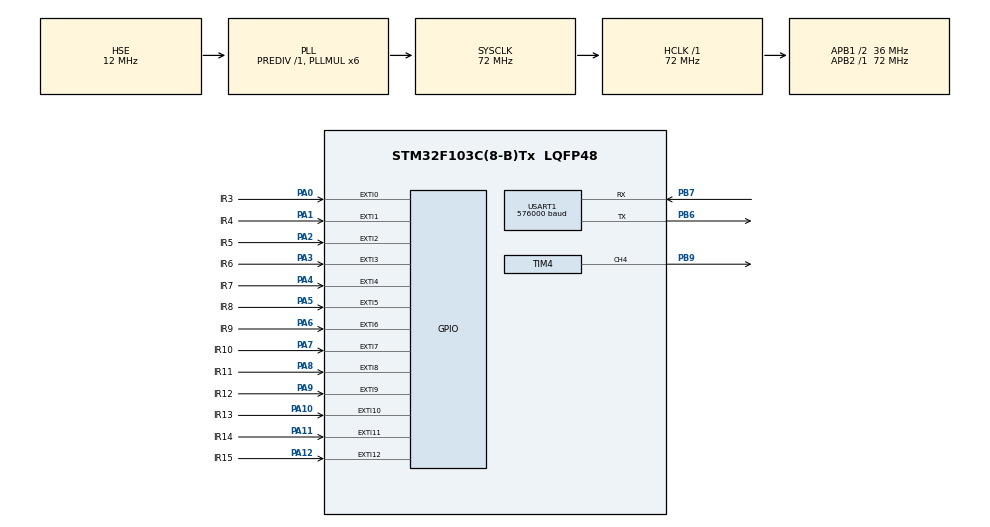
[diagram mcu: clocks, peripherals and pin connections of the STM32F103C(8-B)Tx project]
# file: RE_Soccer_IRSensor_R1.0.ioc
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Mcu.Family=STM32F1
Mcu.Name=STM32F103C(8-B)Tx
Mcu.Package=LQFP48
NVIC.EXTI0_IRQn=true\:0\:0\:false\:false\:true\:true\:true\:true
NVIC.EXTI15_10_IRQn=true\:0\:0\:false\:false\:true\:true\:true\:true
NVIC.EXTI1_IRQn=true\:0\:0\:false\:false\:true\:true\:true\:true
NVIC.EXTI2_IRQn=true\:0\:0\:false\:false\:true\:true\:true\:true
NVIC.EXTI3_IRQn=true\:0\:0\:false\:false\:true\:true\:true\:true
NVIC.EXTI4_IRQn=true\:0\:0\:false\:false\:true\:true\:true\:true
NVIC.EXTI9_5_IRQn=true\:0\:0\:false\:false\:true\:true\:true\:true
NVIC.PriorityGroup=NVIC_PRIORITYGROUP_4
NVIC.TIM3_IRQn=true\:0\:0\:false\:false\:true\:true\:true\:true
NVIC.TIM4_IRQn=true\:0\:0\:false\:false\:true\:true\:true\:true
PA0-WKUP.GPIO_Label=IR3
PA0-WKUP.GPIO_ModeDefaultEXTI=GPIO_MODE_IT_FALLING
PA0-WKUP.Signal=GPXTI0
PA1.GPIO_Label=IR4
PA1.GPIO_ModeDefaultEXTI=GPIO_MODE_IT_FALLING
PA1.Signal=GPXTI1
PA10.GPIO_Label=IR13
PA10.GPIO_ModeDefaultEXTI=GPIO_MODE_IT_FALLING
PA10.Signal=GPXTI10
PA11.GPIO_Label=IR14
PA11.GPIO_ModeDefaultEXTI=GPIO_MODE_IT_FALLING
PA11.Signal=GPXTI11
PA12.GPIO_Label=IR15
PA12.GPIO_ModeDefaultEXTI=GPIO_MODE_IT_FALLING
PA12.Signal=GPXTI12
PA13.Mode=Serial_Wire
PA13.Signal=SYS_JTMS-SWDIO
PA14.Mode=Serial_Wire
PA14.Signal=SYS_JTCK-SWCLK
PA2.GPIO_Label=IR5
PA2.GPIO_ModeDefaultEXTI=GPIO_MODE_IT_FALLING
PA2.Signal=GPXTI2
PA3.GPIO_Label=IR6
PA3.GPIO_ModeDefaultEXTI=GPIO_MODE_IT_FALLING
PA3.Signal=GPXTI3
PA4.GPIO_Label=IR7
PA4.GPIO_ModeDefaultEXTI=GPIO_MODE_IT_FALLING
PA4.Signal=GPXTI4
PA5.GPIO_Label=IR8
PA5.GPIO_ModeDefaultEXTI=GPIO_MODE_IT_FALLING
PA5.Signal=GPXTI5
PA6.GPIO_Label=IR9
PA6.GPIO_ModeDefaultEXTI=GPIO_MODE_IT_FALLING
PA6.Signal=GPXTI6
PA7.GPIO_Label=IR10
PA7.GPIO_ModeDefaultEXTI=GPIO_MODE_IT_FALLING
PA7.Signal=GPXTI7
PA8.GPIO_Label=IR11
PA8.GPIO_ModeDefaultEXTI=GPIO_MODE_IT_FALLING
PA8.Signal=GPXTI8
PA9.GPIO_Label=IR12
PA9.GPIO_ModeDefaultEXTI=GPIO_MODE_IT_FALLING
PA9.Signal=GPXTI9
PB6.Mode=Asynchronous
PB6.Signal=USART1_TX
PB7.Mode=Asynchronous
PB7.Signal=USART1_RX
PB9.Signal=S_TIM4_CH4
PD0-OSC_IN.Mode=HSE-External-Oscillator
PD0-OSC_IN.Signal=RCC_OSC_IN
PD1-OSC_OUT.Mode=HSE-External-Oscillator
PD1-OSC_OUT.Signal=RCC_OSC_OUT
ProjectManager.HeapSize=0x200
ProjectManager.StackSize=0x400
ProjectManager.TargetToolchain=STM32CubeIDE
RCC.AHBFreq_Value=72000000
RCC.APB1CLKDivider=RCC_HCLK_DIV2
RCC.APB1Freq_Value=36000000
RCC.APB1TimFreq_Value=72000000
RCC.APB2Freq_Value=72000000
RCC.APB2TimFreq_Value=72000000
RCC.HCLKFreq_Value=72000000
RCC.HSE_VALUE=12000000
RCC.PLLMUL=RCC_PLL_MUL6
RCC.PLLSourceVirtual=RCC_PLLSOURCE_HSE
RCC.SYSCLKFreq_VALUE=72000000
RCC.SYSCLKSource=RCC_SYSCLKSOURCE_PLLCLK
RCC.USBFreq_Value=72000000
SH.S_TIM4_CH4.0=TIM4_CH4,PWM Generation4 CH4
TIM3.Period=59999
TIM3.Prescaler=11
TIM4.AutoReloadPreload=TIM_AUTORELOAD_PRELOAD_ENABLE
TIM4.Channel-PWM\ Generation4\ CH4=TIM_CHANNEL_4
TIM4.OCPolarity_4=TIM_OCPOLARITY_LOW
TIM4.Period=255
TIM4.Prescaler=8
USART1.BaudRate=576000
USART1.Mode=MODE_TX
USART1.VirtualMode=VM_ASYNC
VP_TIM3_VS_ClockSourceINT.Mode=Internal
VP_TIM4_VS_ClockSourceINT.Mode=Internal
board=custom

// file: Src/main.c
/* USER CODE BEGIN Header */
/**
  ******************************************************************************
  * @file           : main.c
  * @brief          : Main program body
  ******************************************************************************
  * @attention
  *
  * Copyright (c) 2025 STMicroelectronics.
  * All rights reserved.
  *
  * This software is licensed under terms that can be found in the LICENSE file
  * in the root directory of this software component.
  * If no LICENSE file comes with this software, it is provided AS-IS.
  *
  ******************************************************************************
  */
/* USER CODE END Header */
#include "main.h"

/* USER CODE BEGIN Includes */
#include "stdio.h"
#include "stdlib.h"

/* USER CODE END Includes */

TIM_HandleTypeDef htim3;
TIM_HandleTypeDef htim4;

UART_HandleTypeDef huart1;

void SystemClock_Config(void);
static void MX_GPIO_Init(void);
static void MX_TIM4_Init(void);
static void MX_USART1_UART_Init(void);
static void MX_TIM3_Init(void);

/* USER CODE BEGIN 0 */
uint32_t irDataInc[13] = {0};
void HAL_GPIO_EXTI_Callback(uint16_t GPIO_Pin)
{
	if(GPIO_Pin == IR3_Pin) irDataInc[0]++;
	else if(GPIO_Pin == IR4_Pin) irDataInc[1]++;
	else if(GPIO_Pin == IR5_Pin) irDataInc[2]++;
	else if(GPIO_Pin == IR6_Pin) irDataInc[3]++;
	else if(GPIO_Pin == IR7_Pin) irDataInc[4]++;
	else if(GPIO_Pin == IR8_Pin) irDataInc[5]++;
	else if(GPIO_Pin == IR9_Pin) irDataInc[6]++;
	else if(GPIO_Pin == IR10_Pin) irDataInc[7]++;
	else if(GPIO_Pin == IR11_Pin) irDataInc[8]++;
	else if(GPIO_Pin == IR12_Pin) irDataInc[9]++;
	else if(GPIO_Pin == IR13_Pin) irDataInc[10]++;
	else if(GPIO_Pin == IR14_Pin) irDataInc[11]++;
	else if(GPIO_Pin == IR15_Pin) irDataInc[12]++;
}

uint32_t irDataCum[13] = {0};
uint16_t irDataBits = 0;
uint8_t UART1_Tx_Buffer[5] = {0xaa, 0xbb, 0, 0, 0xcc};
void HAL_TIM_PeriodElapsedCallback(TIM_HandleTypeDef* htim)
{
	if(htim->Instance == TIM3){
		uint8_t _maxIrCount = 0;

//		uint16_t irDataBits = 0; Mode 1

		for(uint8_t i = 0; i < 13; i++){
			irDataCum[i] = irDataInc[i];
			irDataInc[i] = 0;
			if(_maxIrCount < irDataCum[i]) _maxIrCount = irDataCum[i];
		}

		if(_maxIrCount > 3){
			for(uint8_t i = 0; i < 13; i++){
				if(irDataCum[i] > 2){
					if(abs(irDataCum[i] - _maxIrCount) < /*threshold detect*/ 2 /*threshold detect*/) irDataBits |= (1 << i);
					else if(abs(irDataCum[i] - _maxIrCount) > /*threshold release*/ 3 /*threshold release*/) irDataBits &= ~(1 << i); //Mode 2
				}
				else{
					irDataBits &= ~(1 << i); //Mode 2
				}
			}
		}
		else irDataBits = 0; //Mode 2

		UART1_Tx_Buffer[2] = (uint8_t)(irDataBits >> 8);
		UART1_Tx_Buffer[3] = (uint8_t)(irDataBits);

//		HAL_UART_Transmit_DMA(&huart1, UART1_Tx_Buffer, sizeof(UART1_Tx_Buffer));
		HAL_UART_Transmit(&huart1, UART1_Tx_Buffer, sizeof(UART1_Tx_Buffer), HAL_MAX_DELAY);
	}
}

uint32_t LED_PWM_Update = 0;
uint8_t LED_PWM_Val = 0;
uint8_t LED_PWM_Dir = 0;
/* USER CODE END 0 */

int main(void)
{

  /* MCU Configuration--------------------------------------------------------*/

  /* Reset of all peripherals, Initializes the Flash interface and the Systick. */
  HAL_Init();

  /* Configure the system clock */
  SystemClock_Config();

  /* Initialize all configured peripherals */
  MX_GPIO_Init();
  MX_TIM4_Init();
  MX_USART1_UART_Init();
  MX_TIM3_Init();
  /* USER CODE BEGIN 2 */

  HAL_TIM_Base_Start_IT(&htim3);

  HAL_TIM_PWM_Start(&htim4, TIM_CHANNEL_4);
  /* USER CODE END 2 */

  /* Infinite loop */
  while (1)
  {

    /* USER CODE BEGIN 3 */
	  if(HAL_GetTick() - LED_PWM_Update > 5){
		  LED_PWM_Update = HAL_GetTick();

		  if(LED_PWM_Dir){
			  LED_PWM_Val++;
			  if(LED_PWM_Val == 255) LED_PWM_Dir = !LED_PWM_Dir;
		  }
		  else{
			  LED_PWM_Val--;
			  if(LED_PWM_Val == 0) LED_PWM_Dir = !LED_PWM_Dir;
		  }

		  TIM4->CCR4 = LED_PWM_Val;

//		  HAL_UART_Transmit(&huart1, UART1_Tx_Buffer, sizeof(UART1_Tx_Buffer), HAL_MAX_DELAY);
	  }

  }
  /* USER CODE END 3 */
}

void SystemClock_Config(void)
{
  RCC_OscInitTypeDef RCC_OscInitStruct = {0};
  RCC_ClkInitTypeDef RCC_ClkInitStruct = {0};

  /** Initializes the RCC Oscillators according to the specified parameters
  * in the RCC_OscInitTypeDef structure.
  */
  RCC_OscInitStruct.OscillatorType = RCC_OSCILLATORTYPE_HSE;
  RCC_OscInitStruct.HSEState = RCC_HSE_ON;
  RCC_OscInitStruct.HSEPredivValue = RCC_HSE_PREDIV_DIV1;
  RCC_OscInitStruct.HSIState = RCC_HSI_ON;
  RCC_OscInitStruct.PLL.PLLState = RCC_PLL_ON;
  RCC_OscInitStruct.PLL.PLLSource = RCC_PLLSOURCE_HSE;
  RCC_OscInitStruct.PLL.PLLMUL = RCC_PLL_MUL6;
  if (HAL_RCC_OscConfig(&RCC_OscInitStruct) != HAL_OK)
  {
    Error_Handler();
  }

  /** Initializes the CPU, AHB and APB buses clocks
  */
  RCC_ClkInitStruct.ClockType = RCC_CLOCKTYPE_HCLK|RCC_CLOCKTYPE_SYSCLK
                              |RCC_CLOCKTYPE_PCLK1|RCC_CLOCKTYPE_PCLK2;
  RCC_ClkInitStruct.SYSCLKSource = RCC_SYSCLKSOURCE_PLLCLK;
  RCC_ClkInitStruct.AHBCLKDivider = RCC_SYSCLK_DIV1;
  RCC_ClkInitStruct.APB1CLKDivider = RCC_HCLK_DIV2;
  RCC_ClkInitStruct.APB2CLKDivider = RCC_HCLK_DIV1;

  if (HAL_RCC_ClockConfig(&RCC_ClkInitStruct, FLASH_LATENCY_2) != HAL_OK)
  {
    Error_Handler();
  }
}

static void MX_TIM3_Init(void)
{

  TIM_ClockConfigTypeDef sClockSourceConfig = {0};
  TIM_MasterConfigTypeDef sMasterConfig = {0};

  htim3.Instance = TIM3;
  htim3.Init.Prescaler = 11;
  htim3.Init.CounterMode = TIM_COUNTERMODE_UP;
  htim3.Init.Period = 59999;
  htim3.Init.ClockDivision = TIM_CLOCKDIVISION_DIV1;
  htim3.Init.AutoReloadPreload = TIM_AUTORELOAD_PRELOAD_DISABLE;
  if (HAL_TIM_Base_Init(&htim3) != HAL_OK)
  {
    Error_Handler();
  }
  sClockSourceConfig.ClockSource = TIM_CLOCKSOURCE_INTERNAL;
  if (HAL_TIM_ConfigClockSource(&htim3, &sClockSourceConfig) != HAL_OK)
  {
    Error_Handler();
  }
  sMasterConfig.MasterOutputTrigger = TIM_TRGO_RESET;
  sMasterConfig.MasterSlaveMode = TIM_MASTERSLAVEMODE_DISABLE;
  if (HAL_TIMEx_MasterConfigSynchronization(&htim3, &sMasterConfig) != HAL_OK)
  {
    Error_Handler();
  }

}

static void MX_TIM4_Init(void)
{

  TIM_ClockConfigTypeDef sClockSourceConfig = {0};
  TIM_MasterConfigTypeDef sMasterConfig = {0};
  TIM_OC_InitTypeDef sConfigOC = {0};

  htim4.Instance = TIM4;
  htim4.Init.Prescaler = 8;
  htim4.Init.CounterMode = TIM_COUNTERMODE_UP;
  htim4.Init.Period = 255;
  htim4.Init.ClockDivision = TIM_CLOCKDIVISION_DIV1;
  htim4.Init.AutoReloadPreload = TIM_AUTORELOAD_PRELOAD_ENABLE;
  if (HAL_TIM_Base_Init(&htim4) != HAL_OK)
  {
    Error_Handler();
  }
  sClockSourceConfig.ClockSource = TIM_CLOCKSOURCE_INTERNAL;
  if (HAL_TIM_ConfigClockSource(&htim4, &sClockSourceConfig) != HAL_OK)
  {
    Error_Handler();
  }
  if (HAL_TIM_PWM_Init(&htim4) != HAL_OK)
  {
    Error_Handler();
  }
  sMasterConfig.MasterOutputTrigger = TIM_TRGO_RESET;
  sMasterConfig.MasterSlaveMode = TIM_MASTERSLAVEMODE_DISABLE;
  if (HAL_TIMEx_MasterConfigSynchronization(&htim4, &sMasterConfig) != HAL_OK)
  {
    Error_Handler();
  }
  sConfigOC.OCMode = TIM_OCMODE_PWM1;
  sConfigOC.Pulse = 0;
  sConfigOC.OCPolarity = TIM_OCPOLARITY_LOW;
  sConfigOC.OCFastMode = TIM_OCFAST_DISABLE;
  if (HAL_TIM_PWM_ConfigChannel(&htim4, &sConfigOC, TIM_CHANNEL_4) != HAL_OK)
  {
    Error_Handler();
  }
  HAL_TIM_MspPostInit(&htim4);

}

static void MX_USART1_UART_Init(void)
{

  huart1.Instance = USART1;
  huart1.Init.BaudRate = 576000;
  huart1.Init.WordLength = UART_WORDLENGTH_8B;
  huart1.Init.StopBits = UART_STOPBITS_1;
  huart1.Init.Parity = UART_PARITY_NONE;
  huart1.Init.Mode = UART_MODE_TX;
  huart1.Init.HwFlowCtl = UART_HWCONTROL_NONE;
  huart1.Init.OverSampling = UART_OVERSAMPLING_16;
  if (HAL_UART_Init(&huart1) != HAL_OK)
  {
    Error_Handler();
  }

}

static void MX_GPIO_Init(void)
{
  GPIO_InitTypeDef GPIO_InitStruct = {0};

  /* GPIO Ports Clock Enable */
  __HAL_RCC_GPIOD_CLK_ENABLE();
  __HAL_RCC_GPIOA_CLK_ENABLE();
  __HAL_RCC_GPIOB_CLK_ENABLE();

  /*Configure GPIO pins : IR3_Pin IR4_Pin IR5_Pin IR6_Pin
                           IR7_Pin IR8_Pin IR9_Pin IR10_Pin
                           IR11_Pin IR12_Pin IR13_Pin IR14_Pin
                           IR15_Pin */
  GPIO_InitStruct.Pin = IR3_Pin|IR4_Pin|IR5_Pin|IR6_Pin
                          |IR7_Pin|IR8_Pin|IR9_Pin|IR10_Pin
                          |IR11_Pin|IR12_Pin|IR13_Pin|IR14_Pin
                          |IR15_Pin;
  GPIO_InitStruct.Mode = GPIO_MODE_IT_FALLING;
  GPIO_InitStruct.Pull = GPIO_NOPULL;
  HAL_GPIO_Init(GPIOA, &GPIO_InitStruct);

  /* EXTI interrupt init*/
  HAL_NVIC_SetPriority(EXTI0_IRQn, 0, 0);
  HAL_NVIC_EnableIRQ(EXTI0_IRQn);

  HAL_NVIC_SetPriority(EXTI1_IRQn, 0, 0);
  HAL_NVIC_EnableIRQ(EXTI1_IRQn);

  HAL_NVIC_SetPriority(EXTI2_IRQn, 0, 0);
  HAL_NVIC_EnableIRQ(EXTI2_IRQn);

  HAL_NVIC_SetPriority(EXTI3_IRQn, 0, 0);
  HAL_NVIC_EnableIRQ(EXTI3_IRQn);

  HAL_NVIC_SetPriority(EXTI4_IRQn, 0, 0);
  HAL_NVIC_EnableIRQ(EXTI4_IRQn);

  HAL_NVIC_SetPriority(EXTI9_5_IRQn, 0, 0);
  HAL_NVIC_EnableIRQ(EXTI9_5_IRQn);

  HAL_NVIC_SetPriority(EXTI15_10_IRQn, 0, 0);
  HAL_NVIC_EnableIRQ(EXTI15_10_IRQn);

}

void Error_Handler(void)
{
  __disable_irq();
  while (1)
  {
  }
}
